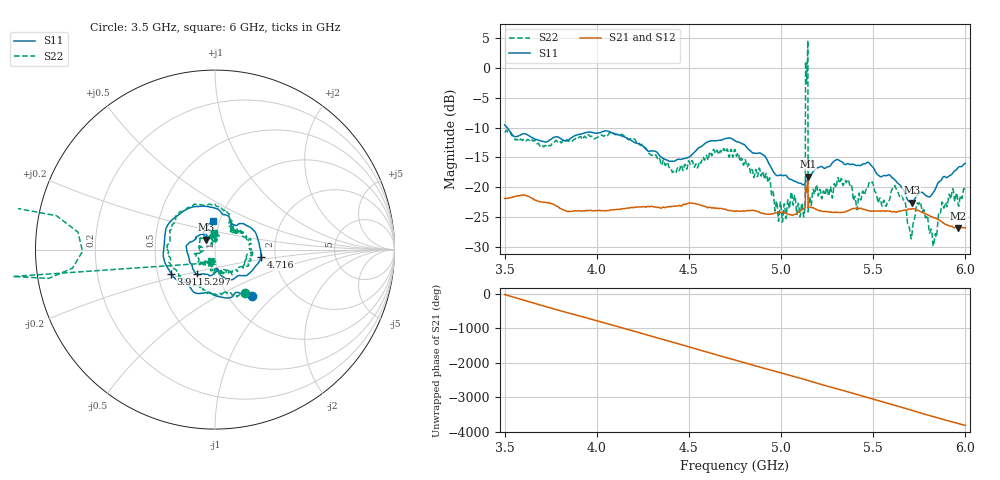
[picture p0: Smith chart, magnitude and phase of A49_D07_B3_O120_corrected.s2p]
! Created with skrf 1.9.0 (http://scikit-rf.org).
# Hz S RI R 50.0
!freq ReS11 ImS11 ReS21 ImS21 ReS12 ImS12 ReS22 ImS22
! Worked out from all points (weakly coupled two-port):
!   1601 points, 3.5 GHz to 6 GHz, reference 50 ohm
!   highest |S21| = -18.21 dB at 5.145 GHz (marker M1); lowest = -26.9 dB at 5.961 GHz (marker M2)
!   lowest |S11| = -22.6 dB at 5.709 GHz (marker M3), VSWR 1.16, Z = 45 + j5.04 ohm
!   |S11| at or under -10 dB: 3.514 GHz to end of sweep
!   |S22| runs from -29.9 to 4.6 dB; largest |S21 - S12| = 0.0011
!   S11 on the Smith chart (normalised r, x): 3.5 GHz: 1.28, -0.75; 3.911 GHz: 0.59, -0.17; 4.716 GHz: 1.68, -0.15; 5.297 GHz: 0.79, -0.22; 6 GHz: 0.93, +0.30
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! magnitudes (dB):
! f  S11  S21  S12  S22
! 3.5 GHz  -9.5  -21.9  -21.8  -10.7
! 3.911 GHz  -11.1  -24.0  -23.9  -11.5
! 3.917 GHz  -11.1  -24.0  -24.0  -11.7
! 4.334 GHz  -14.4  -23.4  -23.3  -15.2
! 4.716 GHz  -11.7  -23.9  -24.0  -14.8
! 4.75 GHz  -12.2  -24.0  -24.0  -13.7
! 4.928 GHz  -15.7  -24.5  -24.5  -19.2
! 4.978 GHz  -18.0  -24.3  -24.2  -22.6
! 5.114 GHz  -19.5  -23.8  -23.7  -22.7
! 5.133 GHz  -19.1  -19.9  -19.9  1.1
! 5.145 GHz  -18.7  -18.2  -18.2  4.6
! 5.159 GHz  -18.1  -23.3  -23.3  -22.5
! 5.167 GHz  -17.7  -23.4  -23.4  -22.1
! 5.297 GHz  -15.4  -24.2  -24.1  -20.1
! 5.584 GHz  -17.9  -24.0  -24.0  -22.3
! 5.623 GHz  -19.0  -24.2  -24.2  -20.2
! 5.709 GHz  -22.6  -23.6  -23.6  -28.2
! 5.748 GHz  -21.1  -23.9  -23.9  -22.8
! 5.833 GHz  -20.6  -25.2  -25.1  -28.6
! 5.867 GHz  -18.9  -25.7  -25.6  -23.8
! 5.961 GHz  -16.7  -26.9  -26.8  -22.9
! 6 GHz  -16.0  -26.8  -26.8  -20.5
